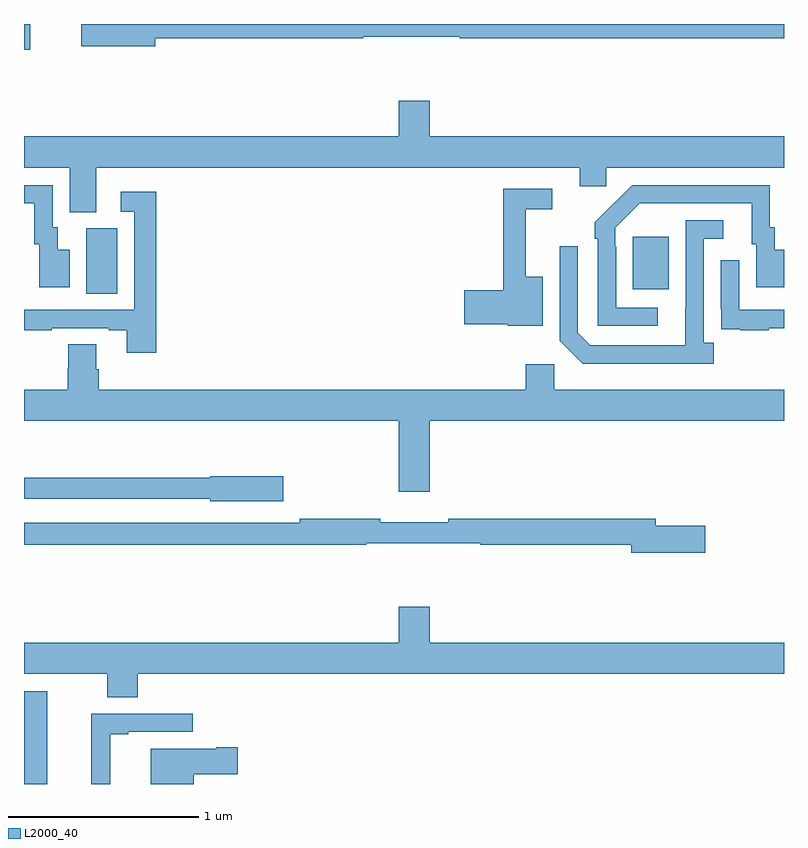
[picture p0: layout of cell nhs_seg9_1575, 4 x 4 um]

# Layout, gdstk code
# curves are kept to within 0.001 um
import gdstk
lib = gdstk.Library(unit=1e-6, precision=1e-09)
def R(c, l, rs):  # rectangles x0, y0, x1, y1
    for r in rs: c.add(gdstk.rectangle(r[:2], r[2:], *l))
def P(c, l, *ps):  # polygons
    for p in ps: c.add(gdstk.Polygon(p, *l))
L2000_40 = (2000, 40)

nhs_seg9_1575 = lib.new_cell('nhs_seg9_1575')
R(nhs_seg9_1575, L2000_40, [(199,1202.5,199.123,1202.988), (199.328,1205.08,199.492,1205.424), (202.205,1205.105,202.393,1205.38), (199,1206.364,199.033,1206.5)])
P(nhs_seg9_1575, L2000_40, [(199.69,1206.424),(200.786,1206.424),(200.786,1206.432),(201.293,1206.432),(201.293,1206.424),(203,1206.424),(203,1206.5),(199.302,1206.5),(199.302,1206.382),(199.69,1206.382)],
  [(199.381,1205.744),(201.926,1205.744),(201.926,1205.646),(202.065,1205.646),(202.065,1205.744),(203,1205.744),(203,1205.908),(201.136,1205.908),(201.136,1206.097),(200.972,1206.097),(200.972,1205.908),(199,1205.908),(199,1205.744),(199.241,1205.744),(199.241,1205.509),(199.381,1205.509)],
  [(199.24,1205.311),(199.177,1205.311),(199.177,1205.43),(199.152,1205.43),(199.152,1205.652),(199,1205.652),(199,1205.556),(199.055,1205.556),(199.055,1205.34),(199.079,1205.34),(199.079,1205.115),(199.24,1205.115)],
  [(202.336,1205.007),(202.116,1205.007),(202.116,1205.327),(202.113,1205.327),(202.113,1205.427),(202.242,1205.556),(202.829,1205.556),(202.829,1205.34),(202.853,1205.34),(202.853,1205.115),(203,1205.115),(203,1205.311),(202.951,1205.311),(202.951,1205.43),(202.926,1205.43),(202.926,1205.652),(202.202,1205.652),(202.005,1205.457),(202.005,1205.369),(202.02,1205.369),(202.02,1204.911),(202.336,1204.911)],
  [(201.73,1205.17),(201.641,1205.17),(201.641,1205.526),(201.781,1205.526),(201.781,1205.634),(201.523,1205.634),(201.523,1205.099),(201.318,1205.099),(201.318,1204.921),(201.546,1204.921),(201.546,1204.913),(201.73,1204.913)],
  [(199.697,1205.617),(199.509,1205.617),(199.509,1205.511),(199.581,1205.511),(199.581,1204.995),(199,1204.995),(199,1204.887),(199.145,1204.887),(199.145,1204.899),(199.445,1204.899),(199.445,1204.887),(199.541,1204.887),(199.541,1204.77),(199.697,1204.77)],
  [(202.63,1204.822),(202.578,1204.822),(202.578,1205.37),(202.681,1205.37),(202.681,1205.466),(202.482,1205.466),(202.481,1204.809),(201.981,1204.809),(201.915,1204.875),(201.915,1205.329),(201.819,1205.329),(201.819,1204.833),(201.94,1204.712),(202.63,1204.712)],
  [(202.919,1204.899),(203,1204.899),(203,1204.995),(202.764,1204.995),(202.764,1205.257),(202.668,1205.257),(202.668,1205.002),(202.669,1205.002),(202.669,1204.893),(202.771,1204.893),(202.771,1204.887),(202.919,1204.887)],
  [(201.136,1204.412),(203,1204.412),(203,1204.576),(201.792,1204.576),(201.792,1204.708),(201.641,1204.708),(201.641,1204.576),(199.394,1204.576),(199.394,1204.682),(199.381,1204.682),(199.381,1204.814),(199.234,1204.814),(199.234,1204.689),(199.229,1204.689),(199.229,1204.576),(199,1204.576),(199,1204.412),(200.972,1204.412),(200.972,1204.038),(201.136,1204.038)],
  [(200.365,1204.119),(199.98,1204.119),(199.98,1204.111),(199,1204.111),(199,1204.002),(199.98,1204.002),(199.98,1203.989),(200.365,1203.989)],
  [(202.585,1203.86),(202.324,1203.86),(202.324,1203.896),(201.232,1203.896),(201.232,1203.877),(200.876,1203.877),(200.876,1203.896),(200.452,1203.896),(200.452,1203.876),(199,1203.876),(199,1203.76),(200.8,1203.76),(200.8,1203.768),(201.4,1203.768),(201.4,1203.76),(202.196,1203.76),(202.196,1203.718),(202.585,1203.718)],
  [(199.598,1203.08),(203,1203.08),(203,1203.244),(201.136,1203.244),(201.136,1203.433),(200.972,1203.433),(200.972,1203.244),(199,1203.244),(199,1203.08),(199.438,1203.08),(199.438,1202.956),(199.598,1202.956)],
  [(199.454,1202.763),(199.549,1202.763),(199.549,1202.775),(199.888,1202.775),(199.888,1202.871),(199.354,1202.871),(199.354,1202.5),(199.454,1202.5)],
  [(199.894,1202.552),(200.125,1202.552),(200.125,1202.694),(200.012,1202.694),(200.012,1202.686),(199.667,1202.686),(199.667,1202.5),(199.894,1202.5)])

lib.write_gds('nhs_seg9_1575.gds')
